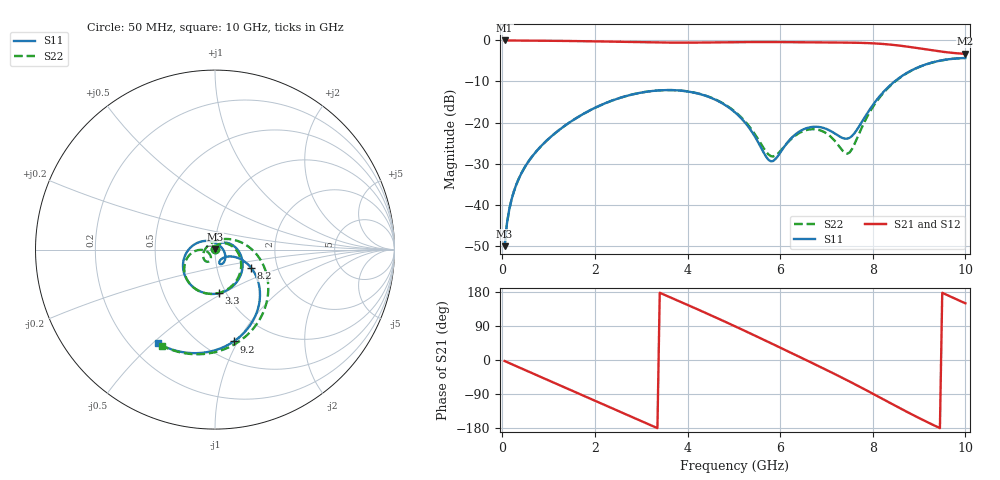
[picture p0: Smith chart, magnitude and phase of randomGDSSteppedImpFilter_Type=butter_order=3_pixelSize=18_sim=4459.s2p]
! freq	dB(S11)	phase(S11)	dB(S12)	phase(S12)
!  dB(S21)	phase(S21)	dB(S22)	phase(S22)
!S-par simulation data
#  GHz  S  DB  R 50
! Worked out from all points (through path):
!   200 points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, 50 MHz to 10 GHz, reference 50 ohm
!   highest |S21| = 0.00 dB at 50 MHz (marker M1); lowest = -3.3 dB at 10 GHz (marker M2)
!   group delay of S21, straight-line fit = 159 ps
!   lowest |S11| = -50.1 dB at 50 MHz (marker M3), VSWR 1.01, Z = 50.1 + j0.305 ohm
!   |S11| at or under -10 dB: start of sweep to 8.47 GHz
!   |S22| runs from -50.1 to -4.3 dB; largest |S21 - S12| = 0
!   S11 on the Smith chart (normalised r, x): 50 MHz: 1.00, +0.01; 3.3 GHz: 0.92, -0.48; 8.2 GHz: 1.46, -0.32; 9.2 GHz: 0.68, -0.96; 10 GHz: 0.31, -0.52
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0.05  -50.10 77.4  -0.00 -2.7  -0.00 -2.7  -50.10 77.1
0.1  -44.60 78.9  -0.01 -5.4  -0.01 -5.4  -44.60 78.3
0.2  -38.72 76.7  -0.02 -10.8  -0.02 -10.8  -38.72 75.6
0.5  -30.61 63.4  -0.04 -26.9  -0.04 -26.9  -30.61 60.8
1.15  -22.50 30.7  -0.10 -61.9  -0.10 -61.9  -22.51 25.7
1.75  -17.89 -1.0  -0.18 -94.2  -0.18 -94.2  -17.91 -6.6
2.6  -13.78 -47.0  -0.35 -139.9  -0.35 -139.9  -13.79 -51.8
3.3  -12.24 -85.0  -0.50 -177.2  -0.50 -177.2  -12.23 -88.1
3.4  -12.15 -90.5  -0.51 177.5  -0.51 177.5  -12.15 -93.2
4.15  -12.74 -132.0  -0.53 137.3  -0.53 137.3  -12.71 -130.8
4.6  -14.42 -158.6  -0.49 112.8  -0.49 112.8  -14.35 -152.4
5.05  -17.76 171.6  -0.42 87.6  -0.42 87.6  -17.58 -171.5
5.8  -29.44 58.3  -0.39 44.4  -0.39 44.4  -28.17 -148.9
6.25  -23.69 -29.4  -0.43 18.1  -0.43 18.1  -23.89 -113.8
6.7  -21.05 -60.9  -0.48 -8.4  -0.48 -8.4  -21.61 -130.9
7.45  -23.93 -50.7  -0.53 -53.7  -0.53 -53.7  -27.58 122.5
7.85  -18.29 -20.2  -0.63 -79.1  -0.63 -79.1  -19.18 31.0
8.2  -12.92 -26.8  -0.84 -101.9  -0.84 -101.9  -13.17 -3.2
8.35  -11.18 -33.2  -0.98 -111.7  -0.98 -111.7  -11.35 -15.1
8.8  -7.51 -56.5  -1.59 -140.8  -1.59 -140.8  -7.57 -47.3
9.2  -5.64 -78.5  -2.27 -165.3  -2.27 -165.3  -5.66 -72.8
10  -4.28 -121.4  -3.26 149.6  -3.26 149.6  -4.28 -118.7
